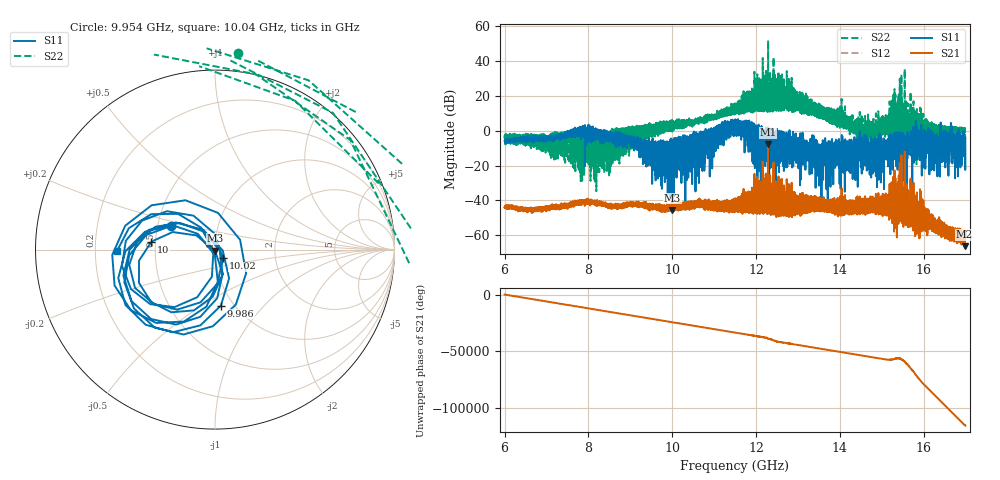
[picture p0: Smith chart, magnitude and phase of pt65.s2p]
#  HZ  S  RI  R  50.00
! Rohde & Schwarz Vector Network Analyzer
! Rohde-Schwarz,ZNA67-2Port,1332450062101215,3.01
! Created: UTC 10/16/2026, 1:31:28 PM
! freq[Hz]  re:S11  im:S11  re:S21  im:S21  re:S12  im:S12  re:S22  im:S22
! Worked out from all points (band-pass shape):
!   11001 points, 6 GHz to 17 GHz, reference 50 ohm
!   highest |S21| = -7.76 dB at 12.29 GHz (marker M1); lowest = -66.3 dB at 16.98 GHz (marker M2)
!   |S21| within 3 dB of the highest: 12.29091 GHz to 12.29109 GHz (176 kHz wide, 0.00143 % of centre)
!   lowest |S11| = -45.5 dB at 10 GHz (marker M3), VSWR 1.01, Z = 50 - j0.53 ohm
!   |S11| at or under -10 dB: 13.52825 GHz to 13.56819 GHz (39.94 MHz wide, 0.295 % of centre); 13.61267 GHz to 13.64714 GHz (34.48 MHz wide, 0.253 % of centre); 13.93519 GHz to 13.96254 GHz (27.35 MHz wide, 0.196 % of centre) (the widest 3 of 482)
!   |S22| runs from -34.7 to 51.7 dB; largest |S21 - S12| = 0.014
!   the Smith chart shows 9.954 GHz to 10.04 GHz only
!   S11 on the Smith chart (normalised r, x): 9.954 GHz: 0.59, +0.17; 9.986 GHz: 0.87, -0.60; 10 GHz: 0.48, +0.05; 10.02 GHz: 1.09, -0.11; 10.04 GHz: 0.29, -0.01
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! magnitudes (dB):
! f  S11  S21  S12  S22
! 6 GHz  -6.0  -43.9  -43.8  -4.5
! 7.834 GHz  -0.9  -40.2  -40.0  -1.2
! 8.488 GHz  -3.4  -43.0  -42.8  -1.2
! 9.667 GHz  -6.6  -43.5  -43.7  4.4
! 9.954 GHz  -11.1  -44.9  -45.0  0.8
! 9.986 GHz  -10.1  -43.0  -43.2  3.6
! 10 GHz  -45.5  -45.2  -45.3  -0.5
! 10 GHz  -8.9  -44.9  -45.0  2.9
! 10.02 GHz  -23.7  -43.5  -43.5  0.8
! 10.04 GHz  -5.2  -44.9  -45.0  4.8
! 11.5 GHz  6.4  -44.6  -44.4  11.6
! 12.29 GHz  -7.8  -7.8  -7.8  51.7
! 13.33 GHz  -8.2  -43.7  -43.7  11.2
! 13.54 GHz  -12.8  -43.2  -43.1  10.3
! 14.62 GHz  -9.7  -43.1  -42.8  -0.4
! 14.84 GHz  -4.2  -43.0  -42.8  -1.8
! 15.17 GHz  -12.2  -39.1  -39.3  5.8
! 15.68 GHz  -8.3  -39.0  -39.3  7.6
! 15.8 GHz  -2.3  -49.2  -49.2  1.0
! 16.19 GHz  -8.9  -52.5  -52.5  -0.7
! 16.98 GHz  -1.9  -66.3  -66.2  -0.9
! 17 GHz  -4.1  -60.9  -60.6  1.0
